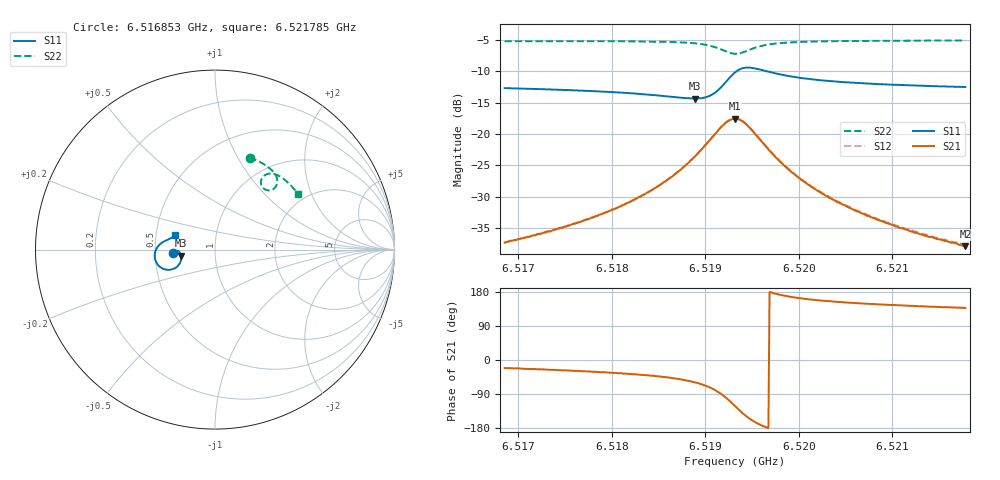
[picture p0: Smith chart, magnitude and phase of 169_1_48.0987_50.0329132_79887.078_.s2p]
#  HZ  S  RI  R  50.00
! Rohde & Schwarz Vector Network Analyzer
! Rohde-Schwarz,ZNB20-2Port,1311601062101988,3.16
! Created: UTC 12/23/2023, 3:51:33 AM
! freq[Hz]  re:S11  im:S11  re:S21  im:S21  re:S12  im:S12  re:S22  im:S22
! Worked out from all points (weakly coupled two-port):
!   401 points, 6.516853 GHz to 6.521785 GHz, reference 50 ohm
!   highest |S21| = -17.55 dB at 6.519319 GHz (marker M1); lowest = -37.9 dB at 6.521785 GHz (marker M2)
!   lowest |S11| = -14.3 dB at 6.518888 GHz (marker M3), VSWR 1.47, Z = 34.1 - j2.45 ohm
!   |S11| at or under -10 dB: start of sweep to 6.519335 GHz; 6.519658 GHz to end of sweep
!   |S22| runs from -7.2 to -5.1 dB; largest |S21 - S12| = 0.0042
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6.5168535e9  -0.2313 -0.0199  0.0128 -0.00495  0.0129 -0.00451  0.1929 0.5129
6.5172973e9  -0.2266 -0.0132  0.015 -0.00715  0.0151 -0.00655  0.2258 0.4999
6.5176794e9  -0.2215 -0.00856  0.0176 -0.00982  0.0178 -0.0095  0.254 0.4861
6.5180739e9  -0.2141 -0.00596  0.0215 -0.0149  0.022 -0.0143  0.2837 0.4686
6.5183205e9  -0.208 -0.00666  0.0251 -0.0204  0.0257 -0.0197  0.3024 0.4549
6.5185054e9  -0.2022 -0.00982  0.0283 -0.0266  0.0292 -0.0259  0.3169 0.4422
6.5187149e9  -0.1945 -0.0186  0.0325 -0.0387  0.0337 -0.0379  0.333 0.4232
6.5188875e9  -0.1885 -0.0347  0.0342 -0.0565  0.0362 -0.0557  0.3443 0.4002
6.5189985e9  -0.1882 -0.0533  0.0312 -0.0747  0.0339 -0.0742  0.3472 0.3797
6.5190848e9  -0.1947 -0.0739  0.0221 -0.0934  0.0252 -0.0935  0.3433 0.3597
6.5192204e9  -0.2355 -0.1088  -0.0194 -0.1214  -0.0159 -0.1229  0.3124 0.3317
6.519319e9  -0.2909 -0.1058  -0.0692 -0.1131  -0.0663 -0.116  0.2744 0.3379
6.5193806e9  -0.32 -0.0825  -0.0924 -0.0897  -0.0905 -0.093  0.2588 0.3574
6.5194423e9  -0.3342 -0.0518  -0.1017 -0.0616  -0.1007 -0.0648  0.256 0.3804
6.5195409e9  -0.3322 -0.00925  -0.0954 -0.0254  -0.0955 -0.0284  0.2696 0.4077
6.5196518e9  -0.3165 0.0195  -0.079 -0.00353  -0.0797 -0.00589  0.292 0.4209
6.5198614e9  -0.2893 0.0426  -0.0536 0.0105  -0.0545 0.00908  0.3272 0.4218
6.5201449e9  -0.267 0.0535  -0.0351 0.0134  -0.0359 0.0125  0.3593 0.4092
6.5205394e9  -0.2499 0.0611  -0.0227 0.0125  -0.0235 0.0119  0.3911 0.3872
6.5209709e9  -0.2383 0.0674  -0.0158 0.0109  -0.0164 0.0106  0.4184 0.3619
6.5214393e9  -0.2291 0.0739  -0.0116 0.00954  -0.012 0.00936  0.4435 0.3336
6.5217845e9  -0.2235 0.0787  -0.00951 0.00857  -0.00989 0.00872  0.4602 0.3121
